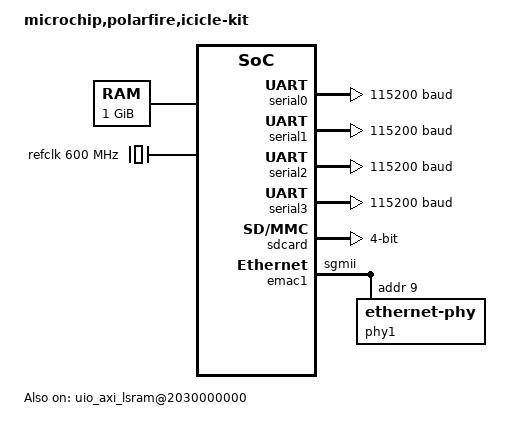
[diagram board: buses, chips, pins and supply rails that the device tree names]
/dts-v1/;
/ {
	#address-cells = <2>;
	#size-cells = <2>;
	compatible = "microchip,polarfire,icicle", "microchip,polarfire";
	model = "microchip,polarfire,icicle-kit";

	chosen {
		bootargs = "root=/dev/mmcblk0p3 rootwait earlycon=sbi console=ttyS0";
		stdout-path = &serial0;
	};

	cpus {
		#address-cells = <1>;
		#size-cells = <0>;
		timebase-frequency = <1000000>;

		cpu@0 {
			clock-frequency = <0>;
			compatible = "sifive,rocket0", "riscv";
			device_type = "cpu";
			i-cache-block-size = <64>;
			i-cache-sets = <128>;
			i-cache-size = <16384>;
			reg = <0>;
			riscv,isa = "rv64imac";
			status = "disabled";

			cpu0_intc: interrupt-controller {
				#interrupt-cells = <1>;
				compatible = "riscv,cpu-intc";
				interrupt-controller;
			};
		};

		cpu@1 {
			clock-frequency = <0>;
			compatible = "sifive,rocket0", "riscv";
			d-cache-block-size = <64>;
			d-cache-sets = <64>;
			d-cache-size = <32768>;
			d-tlb-sets = <1>;
			d-tlb-size = <32>;
			device_type = "cpu";
			i-cache-block-size = <64>;
			i-cache-sets = <64>;
			i-cache-size = <32768>;
			i-tlb-sets = <1>;
			i-tlb-size = <32>;
			mmu-type = "riscv,sv39";
			reg = <1>;
			riscv,isa = "rv64imafdc";
			tlb-split;
			status = "okay";

			cpu1_intc: interrupt-controller {
				#interrupt-cells = <1>;
				compatible = "riscv,cpu-intc";
				interrupt-controller;
			};
		};

		cpu@2 {
			clock-frequency = <0>;
			compatible = "sifive,rocket0", "riscv";
			d-cache-block-size = <64>;
			d-cache-sets = <64>;
			d-cache-size = <32768>;
			d-tlb-sets = <1>;
			d-tlb-size = <32>;
			device_type = "cpu";
			i-cache-block-size = <64>;
			i-cache-sets = <64>;
			i-cache-size = <32768>;
			i-tlb-sets = <1>;
			i-tlb-size = <32>;
			mmu-type = "riscv,sv39";
			reg = <2>;
			riscv,isa = "rv64imafdc";
			tlb-split;
			status = "okay";

			cpu2_intc: interrupt-controller {
				#interrupt-cells = <1>;
				compatible = "riscv,cpu-intc";
				interrupt-controller;
			};
		};

		cpu@3 {
			clock-frequency = <0>;
			compatible = "sifive,rocket0", "riscv";
			d-cache-block-size = <64>;
			d-cache-sets = <64>;
			d-cache-size = <32768>;
			d-tlb-sets = <1>;
			d-tlb-size = <32>;
			device_type = "cpu";
			i-cache-block-size = <64>;
			i-cache-sets = <64>;
			i-cache-size = <32768>;
			i-tlb-sets = <1>;
			i-tlb-size = <32>;
			mmu-type = "riscv,sv39";
			reg = <3>;
			riscv,isa = "rv64imafdc";
			tlb-split;
			status = "okay";

			cpu3_intc: interrupt-controller {
				#interrupt-cells = <1>;
				compatible = "riscv,cpu-intc";
				interrupt-controller;
			};
		};

		cpu@4 {
			clock-frequency = <0>;
			compatible = "sifive,rocket0", "riscv";
			d-cache-block-size = <64>;
			d-cache-sets = <64>;
			d-cache-size = <32768>;
			d-tlb-sets = <1>;
			d-tlb-size = <32>;
			device_type = "cpu";
			i-cache-block-size = <64>;
			i-cache-sets = <64>;
			i-cache-size = <32768>;
			i-tlb-sets = <1>;
			i-tlb-size = <32>;
			mmu-type = "riscv,sv39";
			reg = <4>;
			riscv,isa = "rv64imafdc";
			tlb-split;
			status = "okay";
			cpu4_intc: interrupt-controller {
				#interrupt-cells = <1>;
				compatible = "riscv,cpu-intc";
				interrupt-controller;
			};
		};
	};

	memory@80000000 {
		device_type = "memory";
		reg = <0x0 0x80000000 0x0 0x40000000>;
		clocks = <&clkcfg 26>;
	};

	soc {
		#address-cells = <2>;
		#size-cells = <2>;
		compatible = "simple-bus";
		ranges;

		cache-controller@2010000 {
			compatible = "sifive,fu540-c000-ccache", "cache";
			cache-block-size = <64>;
			cache-level = <2>;
			cache-sets = <1024>;
			cache-size = <2097152>;
			cache-unified;
			interrupt-parent = <&plic>;
			interrupts = <1 2 3>;
			reg = <0x0 0x2010000 0x0 0x1000>;
		};

		clint@2000000 {
			compatible = "riscv,clint0";
			reg = <0x0 0x2000000 0x0 0xC000>;
			interrupts-extended = <&cpu0_intc 3 &cpu0_intc 7
						&cpu1_intc 3 &cpu1_intc 7
						&cpu2_intc 3 &cpu2_intc 7
						&cpu3_intc 3 &cpu3_intc 7
						&cpu4_intc 3 &cpu4_intc 7>;
		};

		plic: interrupt-controller@c000000 {
			#interrupt-cells = <1>;
			compatible = "sifive,plic-1.0.0", "riscv,plic0";
			reg = <0x0 0xc000000 0x0 0x4000000>;
			riscv,ndev = <53>;
			interrupt-controller;
			interrupts-extended = <&cpu0_intc 11
					&cpu1_intc 11 &cpu1_intc 9
					&cpu2_intc 11 &cpu2_intc 9
					&cpu3_intc 11 &cpu3_intc 9
					&cpu4_intc 11 &cpu4_intc 9>;
		};

		dma@3000000 {
			compatible = "sifive,fu540-c000-pdma";
			reg = <0x0 0x3000000 0x0 0x8000>;
			interrupt-parent = <&plic>;
			interrupts = <23 24 25 26 27 28 29 30>;
			#dma-cells = <1>;
		};

		refclk: refclk {
			compatible = "fixed-clock";
			#clock-cells = <0>;
			clock-frequency = <600000000>;
			clock-output-names = "msspllclk";
		};

		clkcfg: clkcfg@20002000 {
			compatible = "microchip,pfsoc-clkcfg";
			reg = <0x0 0x20002000 0x0 0x1000>;
			reg-names = "mss_sysreg";
			clocks = <&refclk>;
			#clock-cells = <1>;
			clock-output-names = "cpuclk", "axiclk", "ahbclk", "ENVMclk", "MAC0clk", "MAC1clk", "MMCclk", "TIMERclk", "MMUART0clk", "MMUART1clk", "MMUART2clk", "MMUART3clk", "MMUART4clk", "SPI0clk", "SPI1clk", "I2C0clk", "I2C1clk", "CAN0clk", "CAN1clk", "USBclk", "RESERVED", "RTCclk", "QSPIclk", "GPIO0clk", "GPIO1clk", "GPIO2clk", "DDRCclk", "FIC0clk", "FIC1clk", "FIC2clk", "FIC3clk", "ATHENAclk", "CFMclk";
		};

		serial0: serial@20000000 {
			compatible = "ns16550a";
			reg = <0x0 0x20000000 0x0 0x400>;
			reg-io-width = <4>;
			reg-shift = <2>;
			interrupt-parent = <&plic>;
			interrupts = <90>;
			current-speed = <115200>;
			clocks = <&clkcfg 8>;
			status = "okay";
		};

		serial1: serial@20100000 {
			compatible = "ns16550a";
			reg = <0x0 0x20100000 0x0 0x400>;
			reg-io-width = <4>;
			reg-shift = <2>;
			interrupt-parent = <&plic>;
			interrupts = <91>;
			current-speed = <115200>;
			clocks = <&clkcfg 9>;
			status = "okay";
		};

		serial2: serial@20102000 {
			compatible = "ns16550a";
			reg = <0x0 0x20102000 0x0 0x400>;
			reg-io-width = <4>;
			reg-shift = <2>;
			interrupt-parent = <&plic>;
			interrupts = <92>;
			current-speed = <115200>;
			clocks = <&clkcfg 10>;
			status = "okay";
		};

		serial3: serial@20104000 {
			compatible = "ns16550a";
			reg = <0x0 0x20104000 0x0 0x400>;
			reg-io-width = <4>;
			reg-shift = <2>;
			interrupt-parent = <&plic>;
			interrupts = <93>;
			current-speed = <115200>;
			clocks = <&clkcfg 11>;
			status = "okay";
		};

		sdcard: sdhc@20008000 {
			compatible = "cdns,sd4hc";
			reg = <0x0 0x20008000 0x0 0x1000>;
			interrupt-parent = <&plic>;
			interrupts = <88>;
			pinctrl-names = "default";
			clocks = <&clkcfg 6>;
			bus-width = <4>;
			disable-wp;
			no-1-8-v;
			cap-mmc-highspeed;
			cap-sd-highspeed;
			card-detect-delay = <200>;
			sd-uhs-sdr12;
			sd-uhs-sdr25;
			sd-uhs-sdr50;
			sd-uhs-sdr104;
			max-frequency = <200000000>;
			status = "okay";
		};

		emac1: ethernet@20112000 {
			compatible = "cdns,macb";
			reg = <0x0 0x20112000 0x0 0x2000>;
			interrupt-parent = <&plic>;
			interrupts = <70 71 72 73>;
			mac-address = [56 34 12 00 FC 00];
			phy-mode = "sgmii";
			clocks = <&clkcfg 5>, <&clkcfg 2>;
			clock-names = "pclk", "hclk";
			#address-cells = <1>;
			#size-cells = <0>;
			phy1: ethernet-phy@9 {
				reg = <9>;
				ti,fifo-depth = <0x01>;
			};
		};

		uio_axi_lsram@2030000000 {
			compatible = "generic-uio";
			reg = <0x20 0x30000000 0 0x80000000 >;
			status = "okay";
		};
	};
};
